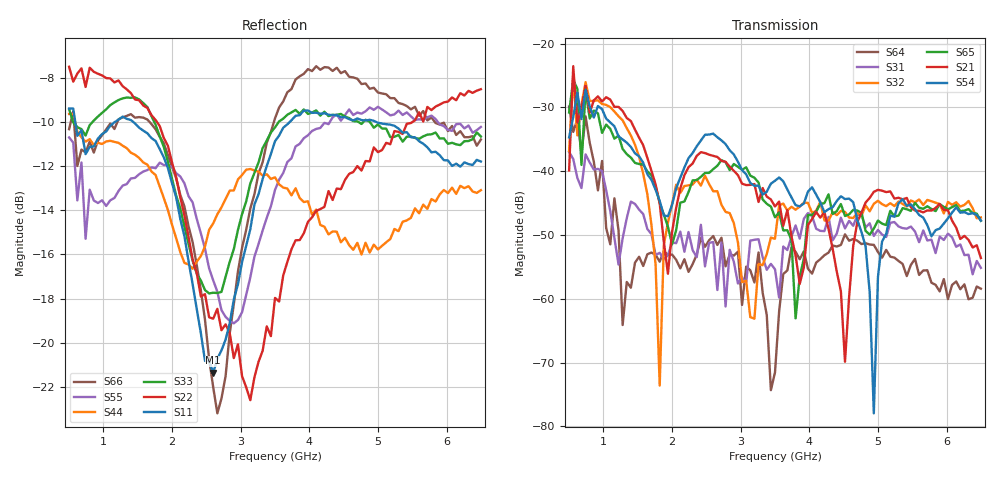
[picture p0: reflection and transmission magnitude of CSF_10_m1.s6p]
!Keysight Technologies,M9804A,MY58100912,A.14.10.03
!Date: Thursday, April 27, 2023 10:28:33
!Correction: S11(C  6-Port  )
!S12(C  6-Port  )
!S13(C  6-Port  )
!S14(C  6-Port  )
!S15(C  6-Port  )
!S16(C  6-Port  )
!S21(C  6-Port  )
!S22(C  6-Port  )
!S23(C  6-Port  )
!S24(C  6-Port  )
!S25(C  6-Port  )
!S26(C  6-Port  )
!S31(C  6-Port  )
!S32(C  6-Port  )
!S33(C  6-Port  )
!S34(C  6-Port  )
!S35(C  6-Port  )
!S36(C  6-Port  )
!S41(C  6-Port  )
!S42(C  6-Port  )
!S43(C  6-Port  )
!S44(C  6-Port  )
!S45(C  6-Port  )
!S46(C  6-Port  )
!S51(C  6-Port  )
!S52(C  6-Port  )
!S53(C  6-Port  )
!S54(C  6-Port  )
!S55(C  6-Port  )
!S56(C  6-Port  )
!S61(C  6-Port  )
!S62(C  6-Port  )
!S63(C  6-Port  )
!S64(C  6-Port  )
!S65(C  6-Port  )
!S66(C  6-Port  )
!S6P File: Measurement: :
# Hz S  RI  R 50
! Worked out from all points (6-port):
!   101 points, 500 MHz to 6.5 GHz, reference 50 ohm
!   strongest paths, dB at 500 MHz, 2 GHz, 3.5 GHz, 5 GHz, 6.5 GHz:
!     S54: -34.7, -45.3, -41.5, -56.6, -47.8
!     S21: -39.9, -49.5, -45.5, -42.9, -53.6
!     S65: -30.8, -51.5, -47.2, -47.8, -47.8
!     S32: -36.8, -45.1, -50.6, -44.6, -47.3
!     S31: -37.0, -51.2, -55.4, -49.2, -55.2
!     S64: -29.9, -53.1, -71.5, -52.7, -58.4
!   lowest |S11| = -21.4 dB at 2.6 GHz (marker M1), VSWR 1.19, Z = 42.4 + j2.25 ohm
!   |S11| at or under -10 dB: 589.5 MHz to 1.169 GHz (579.1 MHz wide, 65.9 % of centre); 1.434 GHz to 3.715 GHz (2.281 GHz wide, 88.6 % of centre); 4.975 GHz to end of sweep
